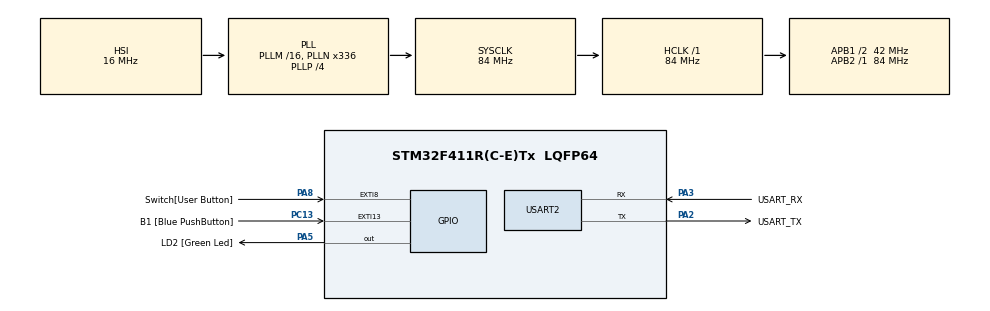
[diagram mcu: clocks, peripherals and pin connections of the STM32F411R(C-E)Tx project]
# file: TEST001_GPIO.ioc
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Mcu.Family=STM32F4
Mcu.Name=STM32F411R(C-E)Tx
Mcu.Package=LQFP64
NVIC.EXTI15_10_IRQn=true\:0\:0\:false\:false\:true\:true\:true\:true
NVIC.EXTI9_5_IRQn=true\:0\:0\:false\:false\:true\:true\:true\:true
NVIC.PriorityGroup=NVIC_PRIORITYGROUP_0
PA13.GPIO_Label=TMS
PA13.Mode=Serial_Wire
PA13.Signal=SYS_JTMS-SWDIO
PA14.GPIO_Label=TCK
PA14.Mode=Serial_Wire
PA14.Signal=SYS_JTCK-SWCLK
PA2.GPIO_Label=USART_TX
PA2.Mode=Asynchronous
PA2.Signal=USART2_TX
PA3.GPIO_Label=USART_RX
PA3.Mode=Asynchronous
PA3.Signal=USART2_RX
PA5.GPIO_Label=LD2 [Green Led]
PA5.Signal=GPIO_Output
PA8.GPIO_Label=Switch[User Button]
PA8.Signal=GPXTI8
PB3.GPIO_Label=SWO
PB3.Signal=SYS_JTDO-SWO
PC13-ANTI_TAMP.GPIO_Label=B1 [Blue PushButton]
PC13-ANTI_TAMP.GPIO_ModeDefaultEXTI=GPIO_MODE_IT_FALLING
PC13-ANTI_TAMP.Signal=GPXTI13
PC14-OSC32_IN.Mode=LSE-External-Oscillator
PC14-OSC32_IN.Signal=RCC_OSC32_IN
PC15-OSC32_OUT.Mode=LSE-External-Oscillator
PC15-OSC32_OUT.Signal=RCC_OSC32_OUT
PH0\ -\ OSC_IN.Mode=HSE-External-Clock-Source
PH0\ -\ OSC_IN.Signal=RCC_OSC_IN
PH1\ -\ OSC_OUT.Mode=HSE-External-Clock-Source
PH1\ -\ OSC_OUT.Signal=RCC_OSC_OUT
ProjectManager.HeapSize=0x200
ProjectManager.StackSize=0x400
ProjectManager.TargetToolchain=STM32CubeIDE
RCC.48MHZClocksFreq_Value=84000000
RCC.AHBFreq_Value=84000000
RCC.APB1CLKDivider=RCC_HCLK_DIV2
RCC.APB1Freq_Value=42000000
RCC.APB1TimFreq_Value=84000000
RCC.APB2Freq_Value=84000000
RCC.APB2TimFreq_Value=84000000
RCC.CortexFreq_Value=84000000
RCC.FLatency-AdvancedSettings=FLASH_LATENCY_2
RCC.HCLKFreq_Value=84000000
RCC.HSE_VALUE=8000000
RCC.HSI_VALUE=16000000
RCC.PLLN=336
RCC.PLLP=RCC_PLLP_DIV4
RCC.SYSCLKFreq_VALUE=84000000
RCC.SYSCLKSource=RCC_SYSCLKSOURCE_PLLCLK
RCC.VCOOutputFreq_Value=336000000
USART2.VirtualMode=VM_ASYNC
board=NUCLEO-F411RE

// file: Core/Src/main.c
/* USER CODE BEGIN Header */
/**
  ******************************************************************************
  * @file           : main.c
  * @brief          : Main program body
  ******************************************************************************
  * @attention
  *
  * Copyright (c) 2024 STMicroelectronics.
  * All rights reserved.
  *
  * This software is licensed under terms that can be found in the LICENSE file
  * in the root directory of this software component.
  * If no LICENSE file comes with this software, it is provided AS-IS.
  *
  ******************************************************************************
  */
/* USER CODE END Header */
#include "main.h"
/* USER CODE BEGIN Includes */
#include <stdio.h>

/* USER CODE END Includes */

UART_HandleTypeDef huart2;

/* USER CODE BEGIN PV */
char s[200];	//출력 버퍼 output buffer
char b[100];	//입력 버퍼 input buffer

/* USER CODE END PV */

void SystemClock_Config(void);
static void MX_GPIO_Init(void);
static void MX_USART2_UART_Init(void);

/* USER CODE BEGIN 0 */

int mode = 0;
//int a = 0;
int count = 0;

void HAL_GPIO_EXTI_Callback(uint16_t GPIO_Pin)
{
	switch(GPIO_Pin)
	{
	case  B1_Pin:
		mode++;
		if(mode>1) mode = 0;
		break;
	case  Switch_Pin:
		printf("%d times pressed\r\n", count++);
		//sprintf(s, "%d times pressed", count++); puts(s);
	break;
	}
	//mode ++;
	//if(mode > 1) mode = 0;
	//mode =0;
	//if(a == 0) a = 1;
	//else a = 0;
}

/* USER CODE END 0 */

int main(void)
{

  /* MCU Configuration--------------------------------------------------------*/

  /* Reset of all peripherals, Initializes the Flash interface and the Systick. */
  HAL_Init();

  /* Configure the system clock */
  SystemClock_Config();

  /* Initialize all configured peripherals */
  MX_GPIO_Init();
  MX_USART2_UART_Init();
  /* USER CODE BEGIN 2 */
  //printf("\033[2J\n"); //clear screen 2J
  //printf("\033[1;1H\n");// y;xH : (x,y)move axis

  ProgramStart();
  setvbuf(stdin, NULL, _IONBF, 0);
  int i; scanf("%d", &i);
  printf("input your number : %d\r\n", i);
  count = i;
  /* USER CODE END 2 */

  /* Infinite loop */
  /* USER CODE BEGIN WHILE */
  while (1)
  {
	  if(mode == 1)
	  	  {
	  		  HAL_GPIO_WritePin(LD2_GPIO_Port, LD2_Pin,1); //PA5
	  		  HAL_Delay(500); //500ms
	  		  HAL_GPIO_WritePin(LD2_GPIO_Port, LD2_Pin,0); //PA5
	  		  HAL_Delay(500); //500ms

	  	  }
	  /*
	  switch(mode){
	  case 1 :
			  HAL_GPIO_WritePin(LD2_GPIO_Port, LD2_Pin,1); //PA5
			  HAL_Delay(500); //500ms
			  HAL_GPIO_WritePin(LD2_GPIO_Port, LD2_Pin,0); //PA5
			  HAL_Delay(500); //500ms
			  break;
	  case 0 :
		  	  break;
	  default :
		  break;
	  }
	  */
	  /*
	  a = 0;
	  //int a = HAL_GPIO_ReadPin(GPIOC, GPIO_PIN_13);//PC13 : B1
	  if(a == 0)
	  {
		  HAL_GPIO_WritePin(LD2_GPIO_Port, LD2_Pin,1); //PA5
		  HAL_Delay(500); //500ms
		  HAL_GPIO_WritePin(LD2_GPIO_Port, LD2_Pin,0); //PA5
		  HAL_Delay(500); //500ms

	  }
	  */
    /* USER CODE END WHILE */

  }
}

void SystemClock_Config(void)
{
  RCC_OscInitTypeDef RCC_OscInitStruct = {0};
  RCC_ClkInitTypeDef RCC_ClkInitStruct = {0};

  /** Configure the main internal regulator output voltage
  */
  __HAL_RCC_PWR_CLK_ENABLE();
  __HAL_PWR_VOLTAGESCALING_CONFIG(PWR_REGULATOR_VOLTAGE_SCALE1);

  /** Initializes the RCC Oscillators according to the specified parameters
  * in the RCC_OscInitTypeDef structure.
  */
  RCC_OscInitStruct.OscillatorType = RCC_OSCILLATORTYPE_HSI;
  RCC_OscInitStruct.HSIState = RCC_HSI_ON;
  RCC_OscInitStruct.HSICalibrationValue = RCC_HSICALIBRATION_DEFAULT;
  RCC_OscInitStruct.PLL.PLLState = RCC_PLL_ON;
  RCC_OscInitStruct.PLL.PLLSource = RCC_PLLSOURCE_HSI;
  RCC_OscInitStruct.PLL.PLLM = 16;
  RCC_OscInitStruct.PLL.PLLN = 336;
  RCC_OscInitStruct.PLL.PLLP = RCC_PLLP_DIV4;
  RCC_OscInitStruct.PLL.PLLQ = 4;
  if (HAL_RCC_OscConfig(&RCC_OscInitStruct) != HAL_OK)
  {
    Error_Handler();
  }

  /** Initializes the CPU, AHB and APB buses clocks
  */
  RCC_ClkInitStruct.ClockType = RCC_CLOCKTYPE_HCLK|RCC_CLOCKTYPE_SYSCLK
                              |RCC_CLOCKTYPE_PCLK1|RCC_CLOCKTYPE_PCLK2;
  RCC_ClkInitStruct.SYSCLKSource = RCC_SYSCLKSOURCE_PLLCLK;
  RCC_ClkInitStruct.AHBCLKDivider = RCC_SYSCLK_DIV1;
  RCC_ClkInitStruct.APB1CLKDivider = RCC_HCLK_DIV2;
  RCC_ClkInitStruct.APB2CLKDivider = RCC_HCLK_DIV1;

  if (HAL_RCC_ClockConfig(&RCC_ClkInitStruct, FLASH_LATENCY_2) != HAL_OK)
  {
    Error_Handler();
  }
}

static void MX_USART2_UART_Init(void)
{

  huart2.Instance = USART2;
  huart2.Init.BaudRate = 115200;
  huart2.Init.WordLength = UART_WORDLENGTH_8B;
  huart2.Init.StopBits = UART_STOPBITS_1;
  huart2.Init.Parity = UART_PARITY_NONE;
  huart2.Init.Mode = UART_MODE_TX_RX;
  huart2.Init.HwFlowCtl = UART_HWCONTROL_NONE;
  huart2.Init.OverSampling = UART_OVERSAMPLING_16;
  if (HAL_UART_Init(&huart2) != HAL_OK)
  {
    Error_Handler();
  }

}

static void MX_GPIO_Init(void)
{
  GPIO_InitTypeDef GPIO_InitStruct = {0};

  /* GPIO Ports Clock Enable */
  __HAL_RCC_GPIOC_CLK_ENABLE();
  __HAL_RCC_GPIOH_CLK_ENABLE();
  __HAL_RCC_GPIOA_CLK_ENABLE();
  __HAL_RCC_GPIOB_CLK_ENABLE();

  /*Configure GPIO pin Output Level */
  HAL_GPIO_WritePin(LD2_GPIO_Port, LD2_Pin, GPIO_PIN_RESET);

  /*Configure GPIO pin : B1_Pin */
  GPIO_InitStruct.Pin = B1_Pin;
  GPIO_InitStruct.Mode = GPIO_MODE_IT_FALLING;
  GPIO_InitStruct.Pull = GPIO_NOPULL;
  HAL_GPIO_Init(B1_GPIO_Port, &GPIO_InitStruct);

  /*Configure GPIO pin : LD2_Pin */
  GPIO_InitStruct.Pin = LD2_Pin;
  GPIO_InitStruct.Mode = GPIO_MODE_OUTPUT_PP;
  GPIO_InitStruct.Pull = GPIO_NOPULL;
  GPIO_InitStruct.Speed = GPIO_SPEED_FREQ_LOW;
  HAL_GPIO_Init(LD2_GPIO_Port, &GPIO_InitStruct);

  /*Configure GPIO pin : Switch_Pin */
  GPIO_InitStruct.Pin = Switch_Pin;
  GPIO_InitStruct.Mode = GPIO_MODE_IT_RISING;
  GPIO_InitStruct.Pull = GPIO_NOPULL;
  HAL_GPIO_Init(Switch_GPIO_Port, &GPIO_InitStruct);

  /* EXTI interrupt init*/
  HAL_NVIC_SetPriority(EXTI9_5_IRQn, 0, 0);
  HAL_NVIC_EnableIRQ(EXTI9_5_IRQn);

  HAL_NVIC_SetPriority(EXTI15_10_IRQn, 0, 0);
  HAL_NVIC_EnableIRQ(EXTI15_10_IRQn);

}

void Error_Handler(void)
{
  __disable_irq();
  while (1)
  {
  }
}
